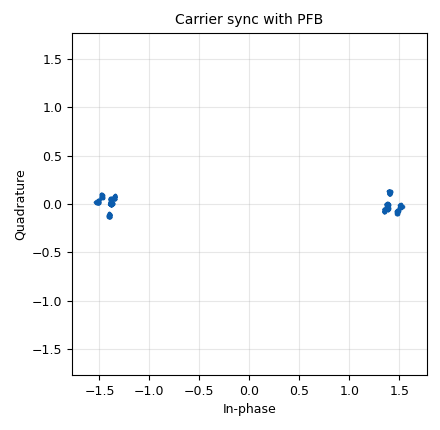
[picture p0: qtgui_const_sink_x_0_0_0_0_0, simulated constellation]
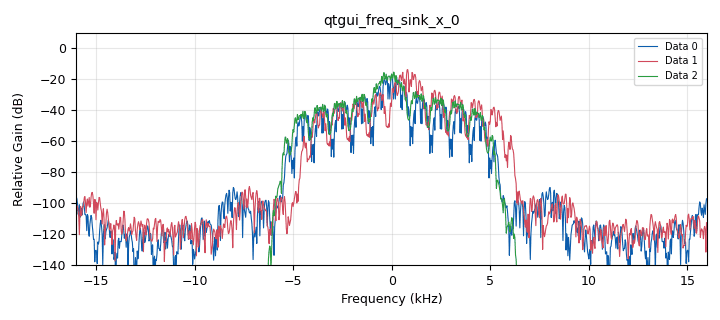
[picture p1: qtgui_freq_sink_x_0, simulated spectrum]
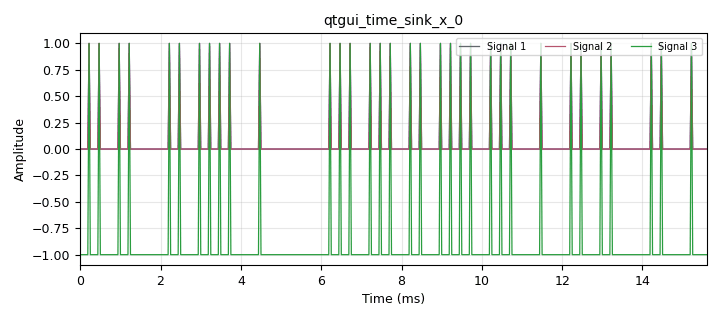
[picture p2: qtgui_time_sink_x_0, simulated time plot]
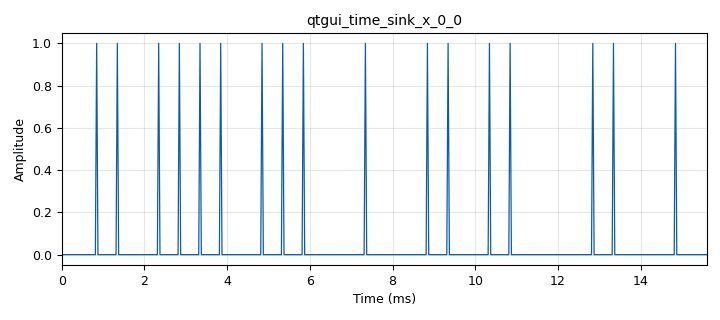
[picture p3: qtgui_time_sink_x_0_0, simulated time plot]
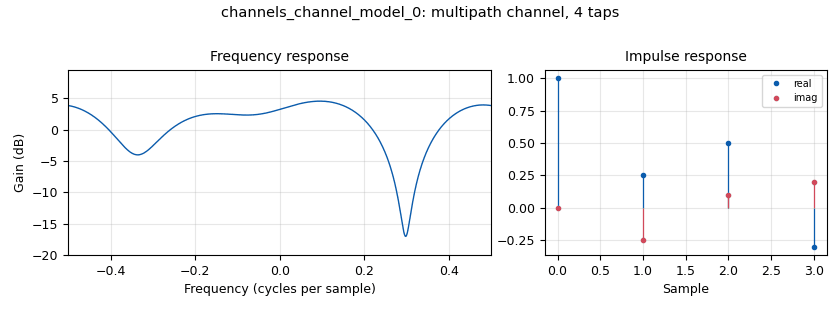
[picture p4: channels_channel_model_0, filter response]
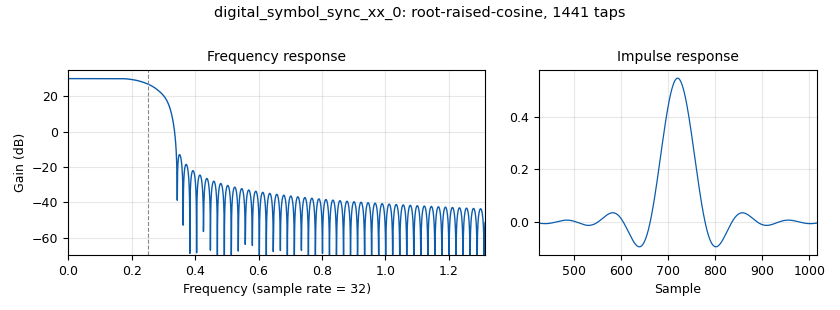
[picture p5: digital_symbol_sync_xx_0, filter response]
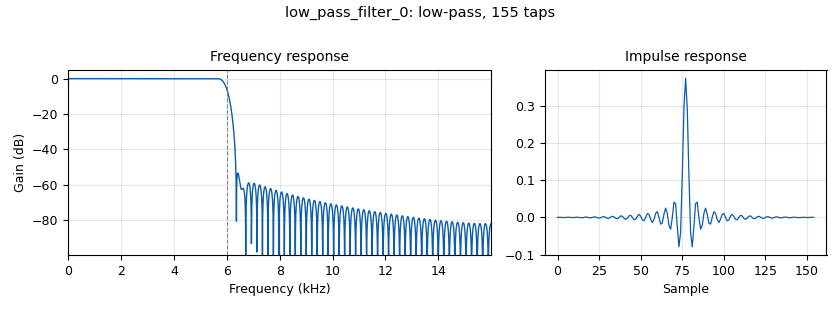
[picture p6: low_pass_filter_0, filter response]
options:
  parameters:
    author: engineerang
    generate_options: qt_gui
    id: mpsk_course_correction
    output_language: python
    title: Not titled yet
  states: {}

blocks:
- name: arity
  id: variable
  parameters:
    value: '2'
  states: {}
- name: excess_bw
  id: variable
  parameters:
    value: '00.35'
  states: {}
- name: freq_offset
  id: variable_qtgui_range
  parameters:
    label: 'Channel: Frequency Offset'
    start: '-0.5'
    step: '0.001'
    stop: '0.5'
    value: '0.025'
  states: {}
- name: nfilts
  id: variable
  parameters:
    value: '32'
  states: {}
- name: noise_volt
  id: variable_qtgui_range
  parameters:
    label: 'Channel: Noise Voltage'
    start: '0'
    step: '0.01'
    stop: '1'
    value: '0.0001'
  states: {}
- name: rrc_taps
  id: variable
  parameters:
    value: firdes.root_raised_cosine(nfilts, nfilts, 1.0/float(sps), 0.35, 45*nfilts)
  states: {}
- name: samp_rate
  id: variable
  parameters:
    value: '32000'
  states: {}
- name: sps
  id: variable
  parameters:
    value: '2'
  states: {}
- name: taps
  id: variable
  parameters:
    value: '[1.0, 0.25-0.25j, 0.50 + 0.10j, -0.3 + 0.2j]'
  states: {}
- name: time_offset
  id: variable_qtgui_range
  parameters:
    label: 'Channel: Timing Offset '
    start: '0.999'
    step: '0.0001'
    stop: '1.001'
    value: '1.000'
  states: {}
- name: timing_loop_bw
  id: variable_qtgui_range
  parameters:
    label: 'Time: BW'
    start: '0'
    step: '0.01'
    stop: '0.2'
    value: '0.0628'
  states: {}
- name: variable_adaptive_algorithm_0
  id: variable_adaptive_algorithm
  parameters:
    cons: variable_constellation_0
    modulus: '2'
    step_size: '0.0001'
    type: cma
  states: {}
- name: variable_constellation_0
  id: variable_constellation
  parameters:
    precision: '8'
    type: bpsk
  states: {}
- name: variable_constellation_rect_0
  id: variable_constellation_rect
  parameters:
    const_points: '[-1-0j, 1+0j]'
    imag_sect: '2'
    real_sect: '2'
    rot_sym: '4'
    sym_map: '[0, 1]'
    w_imag_sect: '1'
    w_real_sect: '1'
  states: {}
- name: blocks_char_to_float_0
  id: blocks_char_to_float
  parameters:
    scale: '1'
  states: {}
- name: blocks_char_to_float_0_0
  id: blocks_char_to_float
  parameters:
    scale: '1'
  states: {}
- name: blocks_char_to_float_0_0_0
  id: blocks_char_to_float
  parameters:
    scale: '1'
  states: {}
- name: blocks_delay_0
  id: blocks_delay
  parameters:
    delay: '52'
    type: float
  states: {}
- name: blocks_message_debug_0
  id: blocks_message_debug
  parameters:
    comment: Display the message that was sent.
  states: {}
- name: blocks_message_strobe_0_0
  id: blocks_message_strobe
  parameters:
    comment: Generate hello world message
    msg: pmt.cons(pmt.make_dict(), pmt.pmt_to_python.numpy_to_uvector(numpy.array([ord(c) for c in "Hello world!"], numpy.uint8)))
    period: '500'
  states: {}
- name: blocks_message_strobe_random_0
  id: blocks_message_strobe_random
  parameters:
    dist: blocks.STROBE_POISSON
    mean: '1000'
    msg: pmt.intern("TEST")
  states: {}
- name: blocks_pdu_to_tagged_stream_1
  id: blocks_pdu_to_tagged_stream
  parameters:
    tag: len_key
    type: byte
  states: {}
- name: blocks_repack_bits_bb_0_0
  id: blocks_repack_bits_bb
  parameters:
    comment: |-
      Access code block up ahead needs 1 byte
      per bit
    endianness: gr.GR_MSB_FIRST
    k: '8'
    l: hdr_const.bits_per_symbol()
    len_tag_key: len_key
  states: {}
- name: blocks_repack_bits_bb_0_0_0
  id: blocks_repack_bits_bb
  parameters:
    comment: Tagged Stream to PDU block up ahead needs packed bytes
    endianness: gr.GR_MSB_FIRST
    k: '1'
    l: '8'
    len_tag_key: len_key2
  states: {}
- name: blocks_repack_bits_bb_0_0_0_0
  id: blocks_repack_bits_bb
  parameters:
    comment: Tagged Stream to PDU block up ahead needs packed bytes
    endianness: gr.GR_MSB_FIRST
    k: '8'
    l: '1'
    len_tag_key: ''
  states: {}
- name: blocks_tagged_stream_mux_0
  id: blocks_tagged_stream_mux
  parameters:
    comment: Append header to payload
    lengthtagname: len_key
    ninputs: '2'
    type: byte
  states: {}
- name: blocks_tagged_stream_to_pdu_0
  id: blocks_tagged_stream_to_pdu
  parameters:
    tag: len_key2
    type: byte
  states: {}
- name: blocks_throttle_0_0
  id: blocks_throttle
  parameters:
    comment: Slow things down :)
    samples_per_second: samp_rate
    type: byte
  states: {}
- name: blocks_unpack_k_bits_bb_0
  id: blocks_unpack_k_bits_bb
  parameters:
    k: '8'
  states: {}
- name: blocks_unpack_k_bits_bb_0_0
  id: blocks_unpack_k_bits_bb
  parameters:
    k: '4'
  states: {}
- name: channels_channel_model_0
  id: channels_channel_model
  parameters:
    block_tags: 'True'
    epsilon: time_offset
    freq_offset: freq_offset
    noise_voltage: noise_volt
    seed: '0'
    taps: taps
  states: {}
- name: digital_chunks_to_symbols_xx_0
  id: digital_chunks_to_symbols_xx
  parameters:
    dimension: '1'
    in_type: byte
    out_type: float
    symbol_table: '[-1,1]'
  states: {}
- name: digital_constellation_decoder_cb_0
  id: digital_constellation_decoder_cb
  parameters:
    constellation: variable_constellation_0
  states: {}
- name: digital_constellation_modulator_0
  id: digital_constellation_modulator
  parameters:
    constellation: variable_constellation_0
    differential: 'True'
    excess_bw: excess_bw
    samples_per_symbol: '4'
    verbose: 'True'
  states: {}
- name: digital_correlate_access_code_xx_ts_0
  id: digital_correlate_access_code_xx_ts
  parameters:
    access_code: digital.packet_utils.default_access_code
    tagname: len_key2
    threshold: '2'
    type: byte
  states: {}
- name: digital_costas_loop_cc_0_0
  id: digital_costas_loop_cc
  parameters:
    order: '2'
    w: timing_loop_bw
  states: {}
- name: digital_diff_decoder_bb_0
  id: digital_diff_decoder_bb
  parameters:
    modulus: '2'
  states: {}
- name: digital_fll_band_edge_cc_0
  id: digital_fll_band_edge_cc
  parameters:
    filter_size: '45'
    rolloff: excess_bw
    samps_per_sym: '4'
    type: cc
    w: '0.02'
  states: {}
- name: digital_linear_equalizer_0_0
  id: digital_linear_equalizer
  parameters:
    alg: variable_adaptive_algorithm_0
    num_taps: '15'
    sps: '4'
  states: {}
- name: digital_protocol_formatter_bb_0
  id: digital_protocol_formatter_bb
  parameters:
    comment: Generate header
    format: hdr_format
    len_tag_key: len_key
  states: {}
- name: digital_symbol_sync_xx_0
  id: digital_symbol_sync_xx
  parameters:
    constellation: digital.constellation_qpsk().base()
    damping: '1.0'
    loop_bw: '0.001'
    max_dev: '0.01'
    nfilters: '32'
    osps: '1'
    pfb_mf_taps: rrc_taps
    resamp_type: digital.IR_PFB_MF
    sps: '4'
    ted_gain: '1.0'
    ted_type: digital.TED_GARDNER
    type: cc
  states: {}
- name: hdr_const
  id: parameter
  parameters:
    label: Header constellation
    value: digital.constellation_calcdist((digital.psk_2()[0]), (digital.psk_2()[1]), 2, 1).base()
  states: {}
- name: hdr_format
  id: parameter
  parameters:
    label: Header Formatter
    value: digital.header_format_default(digital.packet_utils.default_access_code, 0)
  states: {}
- name: import_0
  id: import
  parameters:
    imports: import numpy
  states: {}
- name: low_pass_filter_0
  id: low_pass_filter
  parameters:
    cutoff_freq: '6000'
    decim: '1'
    gain: '1'
    samp_rate: samp_rate
    type: fir_filter_ccf
    width: '500'
    win: window.WIN_HAMMING
  states: {}
- name: qtgui_const_sink_x_0_0_0_0_0
  id: qtgui_const_sink_x
  parameters:
    autoscale: 'True'
    grid: 'True'
    gui_hint: 0,1,1,1
    name: '"Carrier sync with PFB"'
    size: '1024'
    type: complex
    update_time: '0.0010'
  states: {}
- name: qtgui_freq_sink_x_0
  id: qtgui_freq_sink_x
  parameters:
    bw: samp_rate
    fc: '0'
    fftsize: '1024'
    nconnections: '3'
    type: complex
  states: {}
- name: qtgui_time_sink_x_0
  id: qtgui_time_sink_x
  parameters:
    autoscale: 'True'
    grid: 'True'
    nconnections: '3'
    size: '500'
    srate: samp_rate
    type: float
  states: {}
- name: qtgui_time_sink_x_0_0
  id: qtgui_time_sink_x
  parameters:
    autoscale: 'True'
    grid: 'True'
    size: '500'
    srate: samp_rate
    type: float
  states: {}
- name: virtual_sink_0
  id: virtual_sink
  parameters:
    stream_id: tx
  states: {}
- name: virtual_source_0
  id: virtual_source
  parameters:
    stream_id: tx
  states: {}

connections:
- [blocks_char_to_float_0, '0', blocks_delay_0, '0']
- [blocks_char_to_float_0_0, '0', qtgui_time_sink_x_0, '1']
- [blocks_char_to_float_0_0_0, '0', qtgui_time_sink_x_0_0, '0']
- [blocks_delay_0, '0', qtgui_time_sink_x_0, '0']
- [blocks_message_strobe_0_0, strobe, blocks_pdu_to_tagged_stream_1, pdus]
- [blocks_pdu_to_tagged_stream_1, '0', blocks_tagged_stream_mux_0, '1']
- [blocks_pdu_to_tagged_stream_1, '0', digital_protocol_formatter_bb_0, '0']
- [blocks_repack_bits_bb_0_0, '0', blocks_unpack_k_bits_bb_0, '0']
- [blocks_repack_bits_bb_0_0, '0', digital_constellation_modulator_0, '0']
- [blocks_repack_bits_bb_0_0_0, '0', blocks_tagged_stream_to_pdu_0, '0']
- [blocks_repack_bits_bb_0_0_0_0, '0', blocks_char_to_float_0_0_0, '0']
- [blocks_tagged_stream_mux_0, '0', blocks_throttle_0_0, '0']
- [blocks_tagged_stream_to_pdu_0, pdus, blocks_message_debug_0, print]
- [blocks_throttle_0_0, '0', blocks_repack_bits_bb_0_0, '0']
- [blocks_unpack_k_bits_bb_0, '0', blocks_char_to_float_0, '0']
- [blocks_unpack_k_bits_bb_0_0, '0', blocks_char_to_float_0_0, '0']
- [blocks_unpack_k_bits_bb_0_0, '0', digital_chunks_to_symbols_xx_0, '0']
- [channels_channel_model_0, '0', qtgui_freq_sink_x_0, '1']
- [channels_channel_model_0, '0', virtual_sink_0, '0']
- [digital_chunks_to_symbols_xx_0, '0', qtgui_time_sink_x_0, '2']
- [digital_constellation_decoder_cb_0, '0', digital_diff_decoder_bb_0, '0']
- [digital_constellation_modulator_0, '0', channels_channel_model_0, '0']
- [digital_constellation_modulator_0, '0', qtgui_freq_sink_x_0, '0']
- [digital_correlate_access_code_xx_ts_0, '0', blocks_repack_bits_bb_0_0_0, '0']
- [digital_costas_loop_cc_0_0, '0', digital_constellation_decoder_cb_0, '0']
- [digital_costas_loop_cc_0_0, '0', qtgui_const_sink_x_0_0_0_0_0, '0']
- [digital_diff_decoder_bb_0, '0', blocks_repack_bits_bb_0_0_0_0, '0']
- [digital_diff_decoder_bb_0, '0', blocks_unpack_k_bits_bb_0_0, '0']
- [digital_diff_decoder_bb_0, '0', digital_correlate_access_code_xx_ts_0, '0']
- [digital_fll_band_edge_cc_0, '0', low_pass_filter_0, '0']
- [digital_linear_equalizer_0_0, '0', digital_costas_loop_cc_0_0, '0']
- [digital_protocol_formatter_bb_0, '0', blocks_tagged_stream_mux_0, '0']
- [digital_symbol_sync_xx_0, '0', digital_linear_equalizer_0_0, '0']
- [low_pass_filter_0, '0', digital_symbol_sync_xx_0, '0']
- [low_pass_filter_0, '0', qtgui_freq_sink_x_0, '2']
- [virtual_source_0, '0', digital_fll_band_edge_cc_0, '0']

metadata:
  file_format: 1
